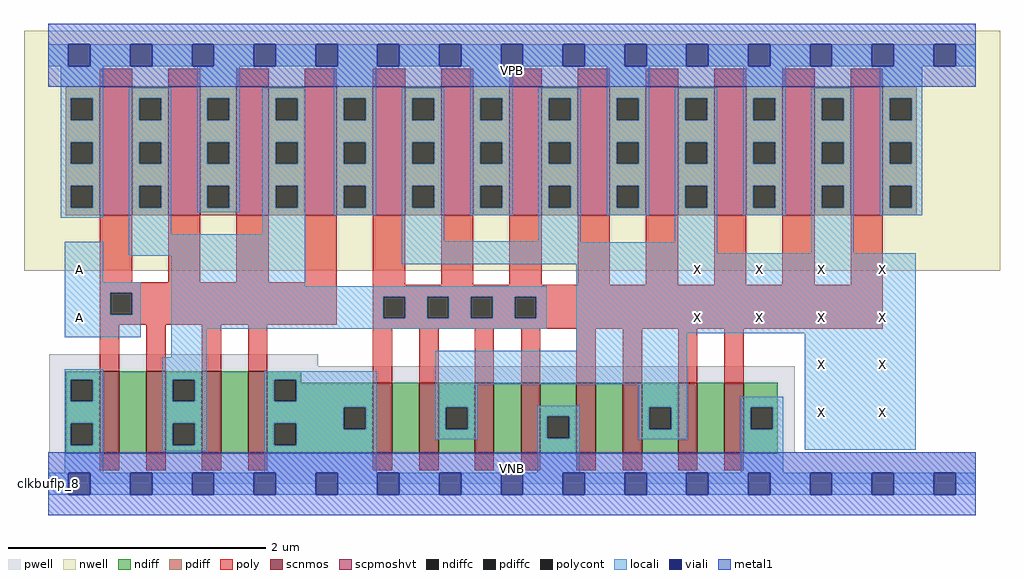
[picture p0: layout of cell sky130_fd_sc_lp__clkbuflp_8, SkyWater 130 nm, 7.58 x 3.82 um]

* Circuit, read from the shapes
.subckt sky130_fd_sc_lp__clkbuflp_8 A VGND VNB VPB VPWR X
XM1 n1 A VGND VNB sky130_fd_pr__nfet_01v8 w=0.64 l=0.15
XM2 n2 A n1 VNB sky130_fd_pr__nfet_01v8 w=0.64 l=0.15
XM3 n3 A n2 VNB sky130_fd_pr__nfet_01v8 w=0.64 l=0.15
XM4 VGND A n3 VNB sky130_fd_pr__nfet_01v8 w=0.64 l=0.15
XM5 n4 n2 VGND VNB sky130_fd_pr__nfet_01v8 w=0.55 l=0.15
XM6 X n2 n4 VNB sky130_fd_pr__nfet_01v8 w=0.55 l=0.15
XM7 n5 n2 X VNB sky130_fd_pr__nfet_01v8 w=0.55 l=0.15
XM8 VGND n2 n5 VNB sky130_fd_pr__nfet_01v8 w=0.55 l=0.15
XM9 n6 n2 VGND VNB sky130_fd_pr__nfet_01v8 w=0.55 l=0.15
XM10 X n2 n6 VNB sky130_fd_pr__nfet_01v8 w=0.55 l=0.15
XM11 n7 n2 X VNB sky130_fd_pr__nfet_01v8 w=0.55 l=0.15
XM12 VGND n2 n7 VNB sky130_fd_pr__nfet_01v8 w=0.55 l=0.15
XM13 n2 A VPWR VPB sky130_fd_pr__pfet_01v8_hvt w=1 l=0.25 m=4
XM14 X n2 VPWR VPB sky130_fd_pr__pfet_01v8_hvt w=1 l=0.25 m=8
.ends

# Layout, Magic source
magic
tech sky130A
magscale 1 2
<< nwell >>
rect -38 331 1478 704
<< pwell >>
rect 1 183 419 201
rect 1 49 1159 183
rect 0 0 1440 49
<< scnmos >>
rect 80 47 110 175
rect 152 47 182 175
rect 238 47 268 175
rect 310 47 340 175
rect 504 47 534 157
rect 576 47 606 157
rect 662 47 692 157
rect 734 47 764 157
rect 820 47 850 157
rect 892 47 922 157
rect 978 47 1008 157
rect 1050 47 1080 157
<< scpmoshvt >>
rect 80 417 130 617
rect 186 417 236 617
rect 292 417 342 617
rect 398 417 448 617
rect 504 417 554 617
rect 610 417 660 617
rect 716 417 766 617
rect 822 417 872 617
rect 928 417 978 617
rect 1034 417 1084 617
rect 1140 417 1190 617
rect 1246 417 1296 617
<< ndiff >>
rect 27 162 80 175
rect 27 128 35 162
rect 69 128 80 162
rect 27 94 80 128
rect 27 60 35 94
rect 69 60 80 94
rect 27 47 80 60
rect 110 47 152 175
rect 182 162 238 175
rect 182 128 193 162
rect 227 128 238 162
rect 182 94 238 128
rect 182 60 193 94
rect 227 60 238 94
rect 182 47 238 60
rect 268 47 310 175
rect 340 162 393 175
rect 340 128 351 162
rect 385 157 393 162
rect 385 128 504 157
rect 340 119 504 128
rect 340 94 459 119
rect 340 60 351 94
rect 385 85 459 94
rect 493 85 504 119
rect 385 60 504 85
rect 340 47 504 60
rect 534 47 576 157
rect 606 119 662 157
rect 606 85 617 119
rect 651 85 662 119
rect 606 47 662 85
rect 692 47 734 157
rect 764 105 820 157
rect 764 71 775 105
rect 809 71 820 105
rect 764 47 820 71
rect 850 47 892 157
rect 922 119 978 157
rect 922 85 933 119
rect 967 85 978 119
rect 922 47 978 85
rect 1008 47 1050 157
rect 1080 119 1133 157
rect 1080 85 1091 119
rect 1125 85 1133 119
rect 1080 47 1133 85
<< pdiff >>
rect 27 599 80 617
rect 27 565 35 599
rect 69 565 80 599
rect 27 531 80 565
rect 27 497 35 531
rect 69 497 80 531
rect 27 463 80 497
rect 27 429 35 463
rect 69 429 80 463
rect 27 417 80 429
rect 130 599 186 617
rect 130 565 141 599
rect 175 565 186 599
rect 130 531 186 565
rect 130 497 141 531
rect 175 497 186 531
rect 130 463 186 497
rect 130 429 141 463
rect 175 429 186 463
rect 130 417 186 429
rect 236 599 292 617
rect 236 565 247 599
rect 281 565 292 599
rect 236 531 292 565
rect 236 497 247 531
rect 281 497 292 531
rect 236 463 292 497
rect 236 429 247 463
rect 281 429 292 463
rect 236 417 292 429
rect 342 599 398 617
rect 342 565 353 599
rect 387 565 398 599
rect 342 531 398 565
rect 342 497 353 531
rect 387 497 398 531
rect 342 463 398 497
rect 342 429 353 463
rect 387 429 398 463
rect 342 417 398 429
rect 448 599 504 617
rect 448 565 459 599
rect 493 565 504 599
rect 448 531 504 565
rect 448 497 459 531
rect 493 497 504 531
rect 448 463 504 497
rect 448 429 459 463
rect 493 429 504 463
rect 448 417 504 429
rect 554 599 610 617
rect 554 565 565 599
rect 599 565 610 599
rect 554 531 610 565
rect 554 497 565 531
rect 599 497 610 531
rect 554 463 610 497
rect 554 429 565 463
rect 599 429 610 463
rect 554 417 610 429
rect 660 599 716 617
rect 660 565 671 599
rect 705 565 716 599
rect 660 531 716 565
rect 660 497 671 531
rect 705 497 716 531
rect 660 463 716 497
rect 660 429 671 463
rect 705 429 716 463
rect 660 417 716 429
rect 766 599 822 617
rect 766 565 777 599
rect 811 565 822 599
rect 766 531 822 565
rect 766 497 777 531
rect 811 497 822 531
rect 766 463 822 497
rect 766 429 777 463
rect 811 429 822 463
rect 766 417 822 429
rect 872 599 928 617
rect 872 565 883 599
rect 917 565 928 599
rect 872 531 928 565
rect 872 497 883 531
rect 917 497 928 531
rect 872 463 928 497
rect 872 429 883 463
rect 917 429 928 463
rect 872 417 928 429
rect 978 599 1034 617
rect 978 565 989 599
rect 1023 565 1034 599
rect 978 531 1034 565
rect 978 497 989 531
rect 1023 497 1034 531
rect 978 463 1034 497
rect 978 429 989 463
rect 1023 429 1034 463
rect 978 417 1034 429
rect 1084 599 1140 617
rect 1084 565 1095 599
rect 1129 565 1140 599
rect 1084 531 1140 565
rect 1084 497 1095 531
rect 1129 497 1140 531
rect 1084 463 1140 497
rect 1084 429 1095 463
rect 1129 429 1140 463
rect 1084 417 1140 429
rect 1190 599 1246 617
rect 1190 565 1201 599
rect 1235 565 1246 599
rect 1190 531 1246 565
rect 1190 497 1201 531
rect 1235 497 1246 531
rect 1190 463 1246 497
rect 1190 429 1201 463
rect 1235 429 1246 463
rect 1190 417 1246 429
rect 1296 599 1349 617
rect 1296 565 1307 599
rect 1341 565 1349 599
rect 1296 531 1349 565
rect 1296 497 1307 531
rect 1341 497 1349 531
rect 1296 463 1349 497
rect 1296 429 1307 463
rect 1341 429 1349 463
rect 1296 417 1349 429
<< ndiffc >>
rect 35 128 69 162
rect 35 60 69 94
rect 193 128 227 162
rect 193 60 227 94
rect 351 128 385 162
rect 351 60 385 94
rect 459 85 493 119
rect 617 85 651 119
rect 775 71 809 105
rect 933 85 967 119
rect 1091 85 1125 119
<< pdiffc >>
rect 35 565 69 599
rect 35 497 69 531
rect 35 429 69 463
rect 141 565 175 599
rect 141 497 175 531
rect 141 429 175 463
rect 247 565 281 599
rect 247 497 281 531
rect 247 429 281 463
rect 353 565 387 599
rect 353 497 387 531
rect 353 429 387 463
rect 459 565 493 599
rect 459 497 493 531
rect 459 429 493 463
rect 565 565 599 599
rect 565 497 599 531
rect 565 429 599 463
rect 671 565 705 599
rect 671 497 705 531
rect 671 429 705 463
rect 777 565 811 599
rect 777 497 811 531
rect 777 429 811 463
rect 883 565 917 599
rect 883 497 917 531
rect 883 429 917 463
rect 989 565 1023 599
rect 989 497 1023 531
rect 989 429 1023 463
rect 1095 565 1129 599
rect 1095 497 1129 531
rect 1095 429 1129 463
rect 1201 565 1235 599
rect 1201 497 1235 531
rect 1201 429 1235 463
rect 1307 565 1341 599
rect 1307 497 1341 531
rect 1307 429 1341 463
<< poly >>
rect 80 617 130 645
rect 186 617 236 645
rect 292 617 342 645
rect 398 617 448 645
rect 504 617 554 645
rect 610 617 660 645
rect 716 617 766 645
rect 822 617 872 645
rect 928 617 978 645
rect 1034 617 1084 645
rect 1140 617 1190 645
rect 1246 617 1296 645
rect 80 313 130 417
rect 186 313 236 417
rect 292 313 342 417
rect 398 313 448 417
rect 80 297 448 313
rect 80 263 96 297
rect 130 263 448 297
rect 80 247 448 263
rect 504 309 554 417
rect 610 309 660 417
rect 716 309 766 417
rect 822 309 872 417
rect 928 309 978 417
rect 1034 309 1084 417
rect 1140 309 1190 417
rect 1246 309 1296 417
rect 504 291 1296 309
rect 504 257 520 291
rect 554 257 588 291
rect 622 257 656 291
rect 690 257 724 291
rect 758 257 1296 291
rect 80 175 110 247
rect 152 175 182 247
rect 238 175 268 247
rect 310 175 340 247
rect 504 241 1296 257
rect 504 157 534 241
rect 576 157 606 241
rect 662 157 692 241
rect 734 157 764 241
rect 820 157 850 241
rect 892 157 922 241
rect 978 157 1008 241
rect 1050 157 1080 241
rect 80 21 110 47
rect 152 21 182 47
rect 238 21 268 47
rect 310 21 340 47
rect 504 21 534 47
rect 576 21 606 47
rect 662 21 692 47
rect 734 21 764 47
rect 820 21 850 47
rect 892 21 922 47
rect 978 21 1008 47
rect 1050 21 1080 47
<< polycont >>
rect 96 263 130 297
rect 520 257 554 291
rect 588 257 622 291
rect 656 257 690 291
rect 724 257 758 291
<< locali >>
rect 0 649 31 683
rect 65 649 127 683
rect 161 649 223 683
rect 257 649 319 683
rect 353 649 415 683
rect 449 649 511 683
rect 545 649 607 683
rect 641 649 703 683
rect 737 649 799 683
rect 833 649 895 683
rect 929 649 991 683
rect 1025 649 1087 683
rect 1121 649 1183 683
rect 1217 649 1279 683
rect 1313 649 1375 683
rect 1409 649 1440 683
rect 19 599 85 649
rect 19 565 35 599
rect 69 565 85 599
rect 19 531 85 565
rect 19 497 35 531
rect 69 497 85 531
rect 19 463 85 497
rect 19 429 35 463
rect 69 429 85 463
rect 19 413 85 429
rect 125 599 191 615
rect 125 565 141 599
rect 175 565 191 599
rect 125 531 191 565
rect 125 497 141 531
rect 175 497 191 531
rect 125 463 191 497
rect 125 429 141 463
rect 175 429 191 463
rect 125 388 191 429
rect 231 599 297 649
rect 231 565 247 599
rect 281 565 297 599
rect 231 531 297 565
rect 231 497 247 531
rect 281 497 297 531
rect 231 463 297 497
rect 231 429 247 463
rect 281 429 297 463
rect 231 422 297 429
rect 332 599 399 615
rect 332 565 353 599
rect 387 565 399 599
rect 332 531 399 565
rect 332 497 353 531
rect 387 497 399 531
rect 332 463 399 497
rect 332 429 353 463
rect 387 429 399 463
rect 332 388 399 429
rect 443 599 509 649
rect 443 565 459 599
rect 493 565 509 599
rect 443 531 509 565
rect 443 497 459 531
rect 493 497 509 531
rect 443 463 509 497
rect 443 429 459 463
rect 493 429 509 463
rect 443 417 509 429
rect 549 599 615 615
rect 549 565 565 599
rect 599 565 615 599
rect 549 531 615 565
rect 549 497 565 531
rect 599 497 615 531
rect 549 463 615 497
rect 549 429 565 463
rect 599 429 615 463
rect 25 313 85 376
rect 125 354 399 388
rect 25 297 143 313
rect 25 263 96 297
rect 130 263 143 297
rect 25 228 143 263
rect 191 307 399 354
rect 549 377 615 429
rect 655 599 721 649
rect 655 565 671 599
rect 705 565 721 599
rect 655 531 721 565
rect 655 497 671 531
rect 705 497 721 531
rect 655 463 721 497
rect 655 429 671 463
rect 705 429 721 463
rect 655 417 721 429
rect 761 599 827 615
rect 761 565 777 599
rect 811 565 827 599
rect 761 531 827 565
rect 761 497 777 531
rect 811 497 827 531
rect 761 463 827 497
rect 761 429 777 463
rect 811 429 827 463
rect 761 377 827 429
rect 867 599 933 649
rect 867 565 883 599
rect 917 565 933 599
rect 867 531 933 565
rect 867 497 883 531
rect 917 497 933 531
rect 867 463 933 497
rect 867 429 883 463
rect 917 429 933 463
rect 867 417 933 429
rect 973 599 1039 615
rect 973 565 989 599
rect 1023 565 1039 599
rect 973 531 1039 565
rect 973 497 989 531
rect 1023 497 1039 531
rect 973 463 1039 497
rect 973 429 989 463
rect 1023 429 1039 463
rect 549 375 827 377
rect 973 375 1039 429
rect 1079 599 1145 649
rect 1079 565 1095 599
rect 1129 565 1145 599
rect 1079 531 1145 565
rect 1079 497 1095 531
rect 1129 497 1145 531
rect 1079 463 1145 497
rect 1079 429 1095 463
rect 1129 429 1145 463
rect 1079 417 1145 429
rect 1185 599 1251 615
rect 1185 565 1201 599
rect 1235 565 1251 599
rect 1185 531 1251 565
rect 1185 497 1201 531
rect 1235 497 1251 531
rect 1185 463 1251 497
rect 1185 429 1201 463
rect 1235 429 1251 463
rect 549 358 1039 375
rect 1185 358 1251 429
rect 1291 599 1357 649
rect 1291 565 1307 599
rect 1341 565 1357 599
rect 1291 531 1357 565
rect 1291 497 1307 531
rect 1341 497 1357 531
rect 1291 463 1357 497
rect 1291 429 1307 463
rect 1341 429 1357 463
rect 1291 417 1357 429
rect 549 341 1347 358
rect 191 291 774 307
rect 191 257 520 291
rect 554 257 588 291
rect 622 257 656 291
rect 690 257 724 291
rect 758 257 774 291
rect 191 241 774 257
rect 191 197 246 241
rect 820 234 1347 341
rect 820 207 992 234
rect 25 162 85 178
rect 25 128 35 162
rect 69 128 85 162
rect 25 94 85 128
rect 25 60 35 94
rect 69 60 85 94
rect 25 17 85 60
rect 177 162 246 197
rect 177 128 193 162
rect 227 128 246 162
rect 177 94 246 128
rect 177 60 193 94
rect 227 60 246 94
rect 177 51 246 60
rect 335 162 510 175
rect 335 128 351 162
rect 385 128 510 162
rect 335 119 510 128
rect 335 94 459 119
rect 335 60 351 94
rect 385 85 459 94
rect 493 85 510 119
rect 385 60 510 85
rect 601 155 992 207
rect 601 119 667 155
rect 601 85 617 119
rect 651 85 667 119
rect 601 69 667 85
rect 759 105 825 121
rect 759 71 775 105
rect 809 71 825 105
rect 335 17 510 60
rect 759 17 825 71
rect 917 119 992 155
rect 917 85 933 119
rect 967 85 992 119
rect 917 69 992 85
rect 1075 119 1141 135
rect 1075 85 1091 119
rect 1125 85 1141 119
rect 1075 17 1141 85
rect 1175 53 1347 234
rect 0 -17 31 17
rect 65 -17 127 17
rect 161 -17 223 17
rect 257 -17 319 17
rect 353 -17 415 17
rect 449 -17 511 17
rect 545 -17 607 17
rect 641 -17 703 17
rect 737 -17 799 17
rect 833 -17 895 17
rect 929 -17 991 17
rect 1025 -17 1087 17
rect 1121 -17 1183 17
rect 1217 -17 1279 17
rect 1313 -17 1375 17
rect 1409 -17 1440 17
<< viali >>
rect 31 649 65 683
rect 127 649 161 683
rect 223 649 257 683
rect 319 649 353 683
rect 415 649 449 683
rect 511 649 545 683
rect 607 649 641 683
rect 703 649 737 683
rect 799 649 833 683
rect 895 649 929 683
rect 991 649 1025 683
rect 1087 649 1121 683
rect 1183 649 1217 683
rect 1279 649 1313 683
rect 1375 649 1409 683
rect 31 -17 65 17
rect 127 -17 161 17
rect 223 -17 257 17
rect 319 -17 353 17
rect 415 -17 449 17
rect 511 -17 545 17
rect 607 -17 641 17
rect 703 -17 737 17
rect 799 -17 833 17
rect 895 -17 929 17
rect 991 -17 1025 17
rect 1087 -17 1121 17
rect 1183 -17 1217 17
rect 1279 -17 1313 17
rect 1375 -17 1409 17
<< metal1 >>
rect 0 683 1440 715
rect 0 649 31 683
rect 65 649 127 683
rect 161 649 223 683
rect 257 649 319 683
rect 353 649 415 683
rect 449 649 511 683
rect 545 649 607 683
rect 641 649 703 683
rect 737 649 799 683
rect 833 649 895 683
rect 929 649 991 683
rect 1025 649 1087 683
rect 1121 649 1183 683
rect 1217 649 1279 683
rect 1313 649 1375 683
rect 1409 649 1440 683
rect 0 617 1440 649
rect 0 17 1440 49
rect 0 -17 31 17
rect 65 -17 127 17
rect 161 -17 223 17
rect 257 -17 319 17
rect 353 -17 415 17
rect 449 -17 511 17
rect 545 -17 607 17
rect 641 -17 703 17
rect 737 -17 799 17
rect 833 -17 895 17
rect 929 -17 991 17
rect 1025 -17 1087 17
rect 1121 -17 1183 17
rect 1217 -17 1279 17
rect 1313 -17 1375 17
rect 1409 -17 1440 17
rect 0 -49 1440 -17
<< labels >>
flabel pwell s 0 0 1440 49 0 FreeSans 200 0 0 0 VNB
port 3 nsew ground bidirectional
flabel nwell s 0 617 1440 666 0 FreeSans 200 0 0 0 VPB
port 4 nsew power bidirectional
rlabel comment s 0 0 0 0 4 clkbuflp_8
flabel metal1 s 0 617 1440 666 0 FreeSans 340 0 0 0 VPWR
port 5 nsew power bidirectional
flabel metal1 s 0 0 1440 49 0 FreeSans 340 0 0 0 VGND
port 2 nsew ground bidirectional
flabel locali s 1183 168 1217 202 0 FreeSans 340 0 0 0 X
port 6 nsew signal output
flabel locali s 31 316 65 350 0 FreeSans 340 0 0 0 A
port 1 nsew signal input
flabel locali s 1183 94 1217 128 0 FreeSans 340 0 0 0 X
port 6 nsew signal output
flabel locali s 31 242 65 276 0 FreeSans 340 0 0 0 A
port 1 nsew signal input
flabel locali s 1279 94 1313 128 0 FreeSans 340 0 0 0 X
port 6 nsew signal output
flabel locali s 1279 168 1313 202 0 FreeSans 340 0 0 0 X
port 6 nsew signal output
flabel locali s 1279 316 1313 350 0 FreeSans 340 0 0 0 X
port 6 nsew signal output
flabel locali s 1279 242 1313 276 0 FreeSans 340 0 0 0 X
port 6 nsew signal output
flabel locali s 991 242 1025 276 0 FreeSans 340 0 0 0 X
port 6 nsew signal output
flabel locali s 991 316 1025 350 0 FreeSans 340 0 0 0 X
port 6 nsew signal output
flabel locali s 1183 242 1217 276 0 FreeSans 340 0 0 0 X
port 6 nsew signal output
flabel locali s 1183 316 1217 350 0 FreeSans 340 0 0 0 X
port 6 nsew signal output
flabel locali s 1087 242 1121 276 0 FreeSans 340 0 0 0 X
port 6 nsew signal output
flabel locali s 1087 316 1121 350 0 FreeSans 340 0 0 0 X
port 6 nsew signal output
<< properties >>
string LEFsite unit
string LEFclass CORE
string FIXED_BBOX 0 0 1440 666
string GDS_FILE $PDKPATH/libs.ref/sky130_fd_sc_lp/gds/sky130_fd_sc_lp.gds
string LEFsymmetry X Y R90
string GDS_END 5388288
string GDS_START 5377980
<< end >>
